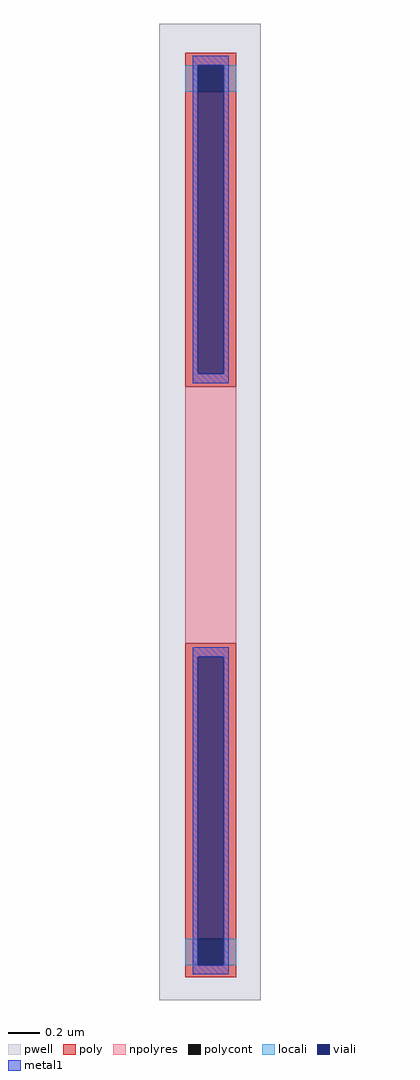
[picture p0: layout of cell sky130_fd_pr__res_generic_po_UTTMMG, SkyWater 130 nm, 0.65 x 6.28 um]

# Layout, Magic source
magic
tech sky130A
magscale 1 2
<< pwell >>
rect -66 -624 64 632
<< poly >>
rect -33 579 33 595
rect -33 545 -17 579
rect 17 545 33 579
rect -33 165 33 545
rect -33 -545 33 -165
rect -33 -579 -17 -545
rect 17 -579 33 -545
rect -33 -595 33 -579
<< polycont >>
rect -17 545 17 579
rect -17 -579 17 -545
<< npolyres >>
rect -33 -165 33 165
<< locali >>
rect -33 545 -17 579
rect 17 545 33 579
rect -33 -579 -17 -545
rect 17 -579 33 -545
<< viali >>
rect -17 545 17 579
rect -17 182 17 545
rect -17 -545 17 -182
rect -17 -579 17 -545
<< metal1 >>
rect -23 579 23 591
rect -23 182 -17 579
rect 17 182 23 579
rect -23 170 23 182
rect -23 -182 23 -170
rect -23 -579 -17 -182
rect 17 -579 23 -182
rect -23 -591 23 -579
<< properties >>
string FIXED_BBOX -146 -708 146 708
string gencell sky130_fd_pr__res_generic_po
string library sky130
string parameters w 0.33 l 1.650 m 1 nx 1 wmin 0.330 lmin 1.650 rho 48.2 val 241.0 dummy 0 dw 0.0 term 0.0 sterm 0.0 caplen 0.4 snake 0 guard 1 glc 1 grc 1 gtc 1 gbc 1 roverlap 0 endcov 100 full_metal 1 hv_guard 0 n_guard 0 vias 1 viagb 0 viagt 0 viagl 0 viagr 0
<< end >>
